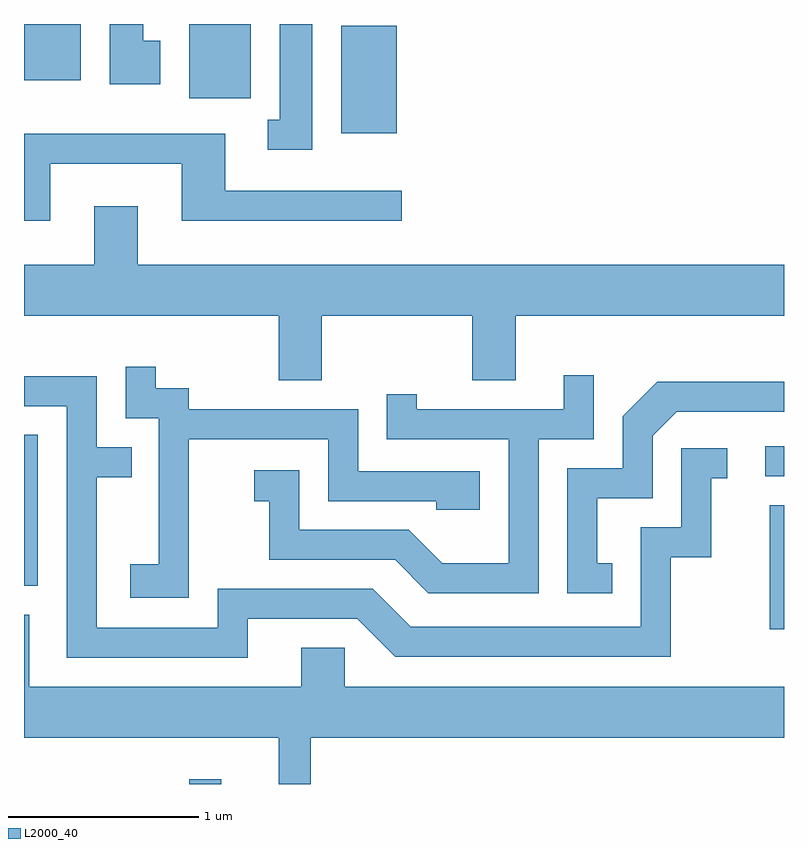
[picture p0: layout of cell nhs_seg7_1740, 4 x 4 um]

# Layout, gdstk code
import gdstk
lib = gdstk.Library(unit=1e-6, precision=1e-09)
def R(c, l, rs):  # rectangles x0, y0, x1, y1
    for r in rs: c.add(gdstk.rectangle(r[:2], r[2:], *l))
def P(c, l, *ps):  # polygons
    for p in ps: c.add(gdstk.Polygon(p, *l))
L2000_40 = (2000, 40)

nhs_seg7_1740 = lib.new_cell('nhs_seg7_1740')
R(nhs_seg7_1740, L2000_40, [(238.481,1756.252,238.649,1756.278), (241.536,1757.066,241.611,1757.719), (237.611,1757.296,237.684,1758.089), (241.513,1757.871,241.611,1758.029), (239.281,1759.676,239.574,1760.244), (238.481,1759.861,238.804,1760.252), (237.611,1759.956,237.909,1760.252)])
P(nhs_seg7_1740, L2000_40, [(238.329,1760.164),(238.239,1760.164),(238.239,1760.252),(238.061,1760.252),(238.061,1759.936),(238.329,1759.936)],
  [(239.129,1760.252),(238.956,1760.252),(238.956,1759.749),(238.893,1759.749),(238.893,1759.591),(239.129,1759.591)],
  [(237.749,1759.516),(238.441,1759.516),(238.441,1759.216),(239.598,1759.216),(239.598,1759.374),(238.669,1759.374),(238.669,1759.674),(237.611,1759.674),(237.611,1759.216),(237.749,1759.216)],
  [(239.179,1758.716),(239.971,1758.716),(239.971,1758.376),(240.199,1758.376),(240.199,1758.716),(241.611,1758.716),(241.611,1758.984),(238.209,1758.984),(238.209,1759.294),(237.981,1759.294),(237.981,1758.984),(237.611,1758.984),(237.611,1758.716),(238.951,1758.716),(238.951,1758.376),(239.179,1758.376)],
  [(238.479,1758.066),(239.211,1758.066),(239.211,1757.741),(239.781,1757.741),(239.781,1757.696),(240.009,1757.696),(240.009,1757.899),(239.369,1757.899),(239.369,1758.224),(238.479,1758.224),(238.479,1758.334),(238.304,1758.334),(238.304,1758.448),(238.146,1758.448),(238.146,1758.176),(238.321,1758.176),(238.321,1757.409),(238.171,1757.409),(238.171,1757.231),(238.479,1757.231)],
  [(240.319,1758.066),(240.609,1758.066),(240.609,1758.403),(240.451,1758.403),(240.451,1758.224),(239.679,1758.224),(239.679,1758.303),(239.521,1758.303),(239.521,1758.066),(240.161,1758.066),(240.161,1757.414),(239.812,1757.414),(239.637,1757.589),(239.059,1757.589),(239.059,1757.904),(238.823,1757.904),(238.823,1757.741),(238.901,1757.741),(238.901,1757.431),(239.564,1757.431),(239.739,1757.256),(240.319,1757.256)],
  [(238.789,1757.121),(239.364,1757.121),(239.564,1756.921),(241.014,1756.921),(241.014,1757.446),(241.229,1757.446),(241.229,1757.861),(241.313,1757.861),(241.313,1758.019),(241.071,1758.019),(241.071,1757.604),(240.856,1757.604),(240.856,1757.079),(239.647,1757.079),(239.447,1757.279),(238.631,1757.279),(238.631,1757.074),(237.994,1757.074),(237.994,1757.866),(238.178,1757.866),(238.178,1758.024),(237.994,1758.024),(237.994,1758.399),(237.611,1758.399),(237.611,1758.241),(237.836,1758.241),(237.836,1756.916),(238.789,1756.916)],
  [(240.708,1757.414),(240.629,1757.414),(240.629,1757.756),(240.919,1757.756),(240.919,1758.084),(241.047,1758.211),(241.611,1758.211),(241.611,1758.369),(240.944,1758.369),(240.761,1758.187),(240.761,1757.914),(240.471,1757.914),(240.471,1757.256),(240.708,1757.256)],
  [(239.119,1756.496),(241.611,1756.496),(241.611,1756.764),(239.299,1756.764),(239.299,1756.969),(239.071,1756.969),(239.071,1756.764),(237.639,1756.764),(237.639,1757.144),(237.611,1757.144),(237.611,1756.496),(238.951,1756.496),(238.951,1756.252),(239.119,1756.252)])

lib.write_gds('nhs_seg7_1740.gds')
